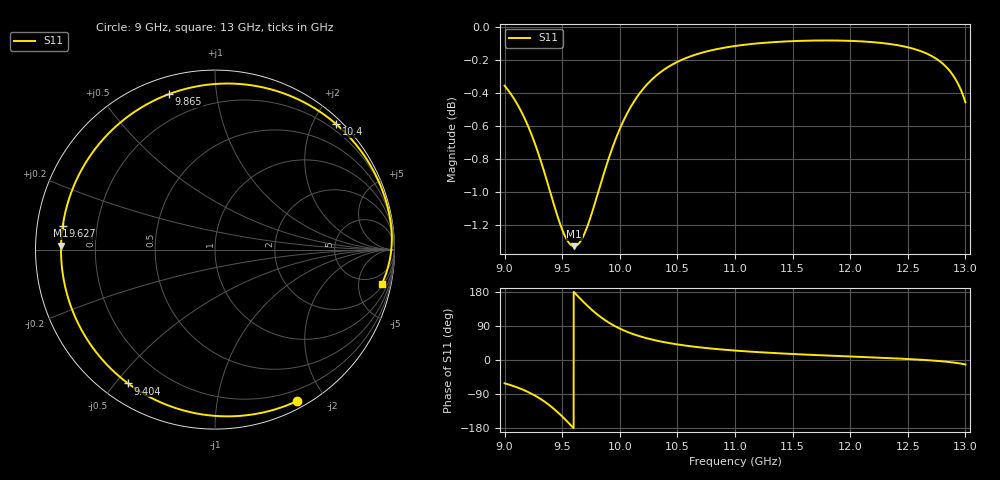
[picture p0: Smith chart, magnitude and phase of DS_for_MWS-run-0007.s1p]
! TOUCHSTONE file generated by CST DESIGN STUDIO
! Date and time: Tue Feb  4 18:23:11 2025
! Project name: C:\Work\MatlabApps\UnitCellOptimizationMatlab\CST\unitcell.cst
! Tree item: Tasks\Sweep1\SPara1\S-Parameters
! Header version: 2024
! Port assignment regex: !\s*Touchstone port\s*([0-9]+)\s*=\s*(CST MWS port|CST DES external port|CST DES block port)\s*(.+)\s* \(\"(.*)\"\)(\s*mode\s*([0-9]+))?.*
! Touchstone port assignment:
! Touchstone port 1 = CST DES external port 1 ("")
# GHz S MA R 50
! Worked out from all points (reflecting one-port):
!   4001 points, 9 GHz to 13 GHz, reference 50 ohm
!   lowest |S11| = -1.3 dB at 9.604 GHz (marker M1), VSWR 13.08, Z = 3.82 + j0.65 ohm
!   phase of S11 starts at -62 deg and turns -310 deg over the sweep
!   S11 on the Smith chart (normalised r, x): 9 GHz: 0.08, -1.68; 9.404 GHz: 0.08, -0.54; 9.627 GHz: 0.08, +0.08; 9.865 GHz: 0.08, +0.74; 10.4 GHz: 0.09, +2.35; 13 GHz: 2.36, -9.13
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9  0.9599 -61.5
9.123  0.9458 -73.9
9.247  0.925 -91.1
9.33  0.907 -106.3
9.404  0.8891 -123.0
9.452  0.8777 -135.4
9.5  0.8679 -149.1
9.554  0.8603 -165.6
9.604  0.8579 178.5
9.627  0.8585 171.2
9.684  0.8641 153.4
9.75  0.8764 134.3
9.806  0.8894 119.8
9.865  0.9035 106.5
9.928  0.9175 94.4
10  0.9313 82.9
10.088  0.9449 71.5
10.182  0.9558 61.9
10.286  0.9646 53.5
10.404  0.9718 46.0
10.5  0.9761 41.1
10.72  0.9825 32.5
11  0.987 24.9
11.5  0.9903 15.9
12  0.9905 9.3
12.5  0.9861 2.6
12.797  0.9753 -3.4
13  0.9488 -11.7
